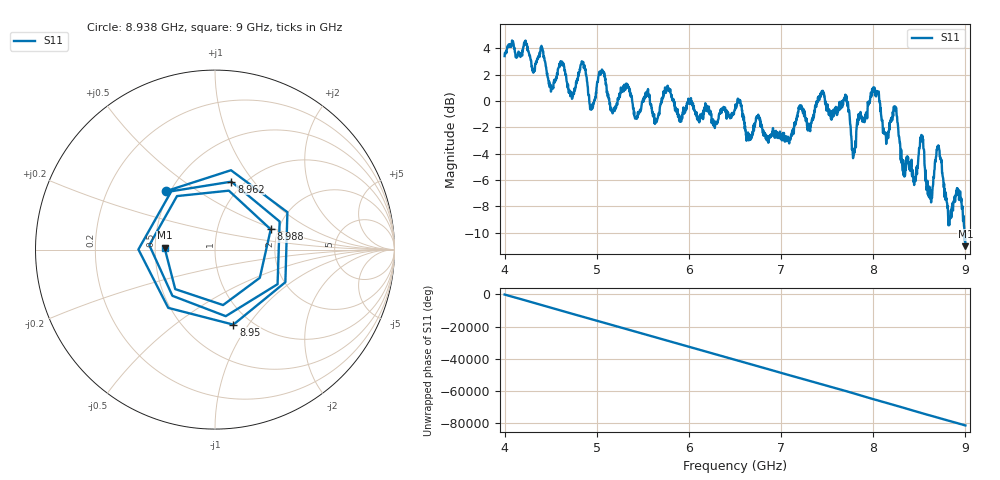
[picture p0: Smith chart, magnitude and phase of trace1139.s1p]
! Created with skrf 1.8.0 (http://scikit-rf.org).
# Hz S RI R 50.0
!freq ReS11 ImS11
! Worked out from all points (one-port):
!   1601 points, 4 GHz to 9 GHz, reference 50 ohm
!   lowest |S11| = -11.0 dB at 9 GHz (marker M1), VSWR 1.78, Z = 28.1 + j0.654 ohm
!   |S11| at or under -10 dB: 8.989159 GHz to end of sweep
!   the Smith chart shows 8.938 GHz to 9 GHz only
!   S11 on the Smith chart (normalised r, x): 8.938 GHz: 0.47, +0.38; 8.95 GHz: 0.83, -0.85; 8.962 GHz: 0.88, +0.78; 8.988 GHz: 1.83, +0.46; 9 GHz: 0.56, +0.01
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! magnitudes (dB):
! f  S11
! 4 GHz  3.4
! 4.406 GHz  4.0
! 4.506 GHz  0.9
! 4.625 GHz  3.0
! 4.728 GHz  0.5
! 4.853 GHz  3.0
! 4.944 GHz  -0.4
! 5.05 GHz  2.1
! 5.162 GHz  -0.8
! 5.25 GHz  0.3
! 5.875 GHz  -1.0
! 6.5 GHz  -0.6
! 7.125 GHz  -2.2
! 7.447 GHz  0.7
! 7.75 GHz  -1.8
! 7.791 GHz  -3.8
! 8.034 GHz  0.7
! 8.375 GHz  -4.5
! 8.456 GHz  -5.9
! 8.528 GHz  -2.9
! 8.616 GHz  -7.4
! 8.709 GHz  -3.4
! 8.822 GHz  -9.0
! 8.938 GHz  -7.4
! 8.95 GHz  -7.3
! 8.962 GHz  -8.2
! 8.988 GHz  -9.6
! 9 GHz  -11.0
